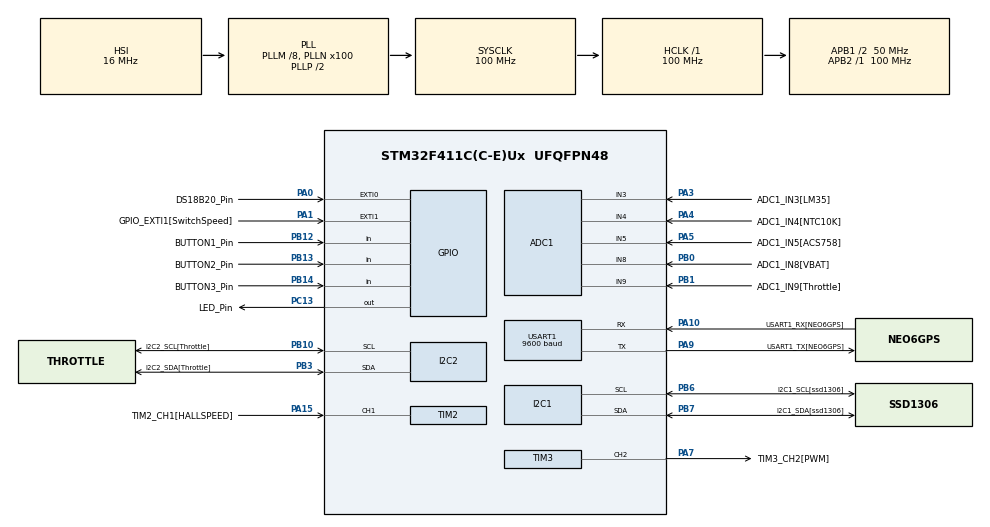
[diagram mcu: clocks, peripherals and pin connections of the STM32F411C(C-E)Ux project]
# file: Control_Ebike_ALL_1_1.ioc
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ADC1.Channel-0\#ChannelRegularConversion=ADC_CHANNEL_3
ADC1.Channel-1\#ChannelRegularConversion=ADC_CHANNEL_5
ADC1.Channel-2\#ChannelRegularConversion=ADC_CHANNEL_8
ADC1.Channel-3\#ChannelRegularConversion=ADC_CHANNEL_9
ADC1.Channel-4\#ChannelRegularConversion=ADC_CHANNEL_4
ADC1.ContinuousConvMode=ENABLE
ADC1.NbrOfConversion=5
ADC1.NbrOfConversionFlag=1
ADC1.Rank-0\#ChannelRegularConversion=1
ADC1.Rank-1\#ChannelRegularConversion=2
ADC1.Rank-2\#ChannelRegularConversion=3
ADC1.Rank-3\#ChannelRegularConversion=4
ADC1.Rank-4\#ChannelRegularConversion=5
ADC1.SamplingTime-0\#ChannelRegularConversion=ADC_SAMPLETIME_84CYCLES
ADC1.SamplingTime-1\#ChannelRegularConversion=ADC_SAMPLETIME_84CYCLES
ADC1.SamplingTime-2\#ChannelRegularConversion=ADC_SAMPLETIME_84CYCLES
ADC1.SamplingTime-3\#ChannelRegularConversion=ADC_SAMPLETIME_84CYCLES
ADC1.SamplingTime-4\#ChannelRegularConversion=ADC_SAMPLETIME_84CYCLES
ADC1.ScanConvMode=ENABLE
ADC1.master=1
I2C1.I2C_Mode=I2C_Fast
Mcu.Family=STM32F4
Mcu.Name=STM32F411C(C-E)Ux
Mcu.Package=UFQFPN48
NVIC.EXTI0_IRQn=true\:0\:0\:false\:false\:true\:true\:true\:true
NVIC.PriorityGroup=NVIC_PRIORITYGROUP_4
NVIC.TIM1_BRK_TIM9_IRQn=true\:0\:0\:false\:false\:true\:true\:true\:true
NVIC.TIM2_IRQn=true\:0\:0\:false\:false\:true\:true\:true\:true
NVIC.TIM4_IRQn=true\:0\:0\:false\:false\:true\:true\:true\:true
NVIC.USART1_IRQn=true\:0\:0\:false\:false\:true\:true\:true\:true
PA0-WKUP.GPIO_Label=DS18B20_Pin
PA0-WKUP.Signal=GPXTI0
PA1.GPIO_Label=GPIO_EXTI1[SwitchSpeed]
PA1.GPIO_ModeDefaultEXTI=GPIO_MODE_IT_FALLING
PA1.Signal=GPXTI1
PA10.GPIO_Label=USART1_RX[NEO6GPS]
PA10.Mode=Asynchronous
PA10.Signal=USART1_RX
PA13.Mode=Serial_Wire
PA13.Signal=SYS_JTMS-SWDIO
PA14.Mode=Serial_Wire
PA14.Signal=SYS_JTCK-SWCLK
PA15.GPIO_Label=TIM2_CH1[HALLSPEED]
PA15.GPIO_PuPd=GPIO_PULLDOWN
PA15.GPIO_Speed=GPIO_SPEED_FREQ_VERY_HIGH
PA15.Signal=S_TIM2_CH1_ETR
PA3.GPIO_Label=ADC1_IN3[LM35]
PA3.Signal=ADCx_IN3
PA4.GPIO_Label=ADC1_IN4[NTC10K]
PA4.Signal=ADCx_IN4
PA5.GPIO_Label=ADC1_IN5[ACS758]
PA5.Signal=ADCx_IN5
PA7.GPIO_Label=TIM3_CH2[PWM]
PA7.Signal=S_TIM3_CH2
PA9.GPIO_Label=USART1_TX[NEO6GPS]
PA9.Mode=Asynchronous
PA9.Signal=USART1_TX
PB0.GPIO_Label=ADC1_IN8[VBAT]
PB0.Signal=ADCx_IN8
PB1.GPIO_Label=ADC1_IN9[Throttle]
PB1.Signal=ADCx_IN9
PB10.GPIO_Label=I2C2_SCL[Throttle]
PB10.Mode=I2C
PB10.Signal=I2C2_SCL
PB12.GPIO_Label=BUTTON1_Pin
PB12.Signal=GPIO_Input
PB13.GPIO_Label=BUTTON2_Pin
PB13.Signal=GPIO_Input
PB14.GPIO_Label=BUTTON3_Pin
PB14.Signal=GPIO_Input
PB3.GPIO_Label=I2C2_SDA[Throttle]
PB3.Mode=I2C
PB3.Signal=I2C2_SDA
PB6.GPIO_Label=I2C1_SCL[ssd1306]
PB6.Mode=I2C
PB6.Signal=I2C1_SCL
PB7.GPIO_Label=I2C1_SDA[ssd1306]
PB7.Mode=I2C
PB7.Signal=I2C1_SDA
PC13-ANTI_TAMP.GPIO_Label=LED_Pin
PC13-ANTI_TAMP.Signal=GPIO_Output
PH0\ -\ OSC_IN.Mode=HSE-External-Oscillator
PH0\ -\ OSC_IN.Signal=RCC_OSC_IN
PH1\ -\ OSC_OUT.Mode=HSE-External-Oscillator
PH1\ -\ OSC_OUT.Signal=RCC_OSC_OUT
ProjectManager.HeapSize=0x200
ProjectManager.StackSize=0x400
ProjectManager.TargetToolchain=STM32CubeIDE
RCC.48MHZClocksFreq_Value=50000000
RCC.AHBFreq_Value=100000000
RCC.APB1CLKDivider=RCC_HCLK_DIV2
RCC.APB1Freq_Value=50000000
RCC.APB1TimFreq_Value=100000000
RCC.APB2Freq_Value=100000000
RCC.APB2TimFreq_Value=100000000
RCC.CortexFreq_Value=100000000
RCC.HCLKFreq_Value=100000000
RCC.HSE_VALUE=25000000
RCC.HSI_VALUE=16000000
RCC.LSE_VALUE=32768
RCC.PLLM=8
RCC.PLLN=100
RCC.SYSCLKFreq_VALUE=100000000
RCC.SYSCLKSource=RCC_SYSCLKSOURCE_PLLCLK
RCC.VCOOutputFreq_Value=200000000
SH.ADCx_IN3.0=ADC1_IN3,IN3
SH.ADCx_IN4.0=ADC1_IN4,IN4
SH.ADCx_IN5.0=ADC1_IN5,IN5
SH.ADCx_IN8.0=ADC1_IN8,IN8
SH.ADCx_IN9.0=ADC1_IN9,IN9
SH.S_TIM2_CH1_ETR.0=TIM2_CH1,Input_Capture1_from_TI1
SH.S_TIM3_CH2.0=TIM3_CH2,PWM Generation2 CH2
TIM1.Prescaler=100-1
TIM2.Channel-Input_Capture1_from_TI1=TIM_CHANNEL_1
TIM2.Channel-Input_Capture2_from_TI1_63=TIM_CHANNEL_2
TIM2.ICPolarity_CH2=TIM_INPUTCHANNELPOLARITY_FALLING
TIM2.Period=69355
TIM3.Channel-PWM\ Generation2\ CH2=TIM_CHANNEL_2
TIM3.Period=100-1
TIM3.Prescaler=10-1
TIM4.Period=1000-1
TIM4.Prescaler=10000-1
USART1.BaudRate=9600
USART1.VirtualMode=VM_ASYNC
VP_TIM1_VS_ClockSourceINT.Mode=Internal
VP_TIM2_VS_ClockSourceINT.Mode=Internal
VP_TIM2_VS_indirect_ch1.Mode=Input_Capture2_from_TI1_63
VP_TIM4_VS_ClockSourceINT.Mode=Internal
board=custom

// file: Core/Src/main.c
/* USER CODE BEGIN Header */
/**
  ******************************************************************************
  * @file           : main.c
  * @brief          : Main program body
  ******************************************************************************
  * @attention
  *
  * Copyright (c) 2024 STMicroelectronics.
  * All rights reserved.
  *
  * This software is licensed under terms that can be found in the LICENSE file
  * in the root directory of this software component.
  * If no LICENSE file comes with this software, it is provided AS-IS.
  *
  ******************************************************************************
  */
/* USER CODE END Header */
#include "main.h"
#include "adc.h"
#include "i2c.h"
#include "tim.h"
#include "usart.h"
#include "gpio.h"

/* USER CODE BEGIN Includes */
#include "acs758.h"
#include "Battery.h"
#include "buttons.h"
#include "ds18B20.h"
#include "ssd1306_conf.h"
#include "ssd1306_tests.h"
#include "ssd1306_fonts.h"
#include "ssd1306.h"
#include "gps_neo6.h"
#include "hall.h"
#include "MCP4725.h"
#include "onewire.h"
#include "pid.h"
#include "ThrottleADC.h"
#include "page.h"
#include "lm35.h"
#include "ntc10k.h"
#include "SwitchSpeed.h"

#include "stdint.h"
#include "stdio.h"
#include <math.h>
#include <string.h>
/* USER CODE END Includes */

/* USER CODE BEGIN PV */

///// NTC10K ////
uint16_t ADC_Raw;
float Ntc_Tmp;

uint8_t Sch_100ms = 255;

///// LM35 /////
float temp;
uint32_t adcval;

//// POWER  /////
float power;

/// ACS758 /////
double current;
float voltage;
uint32_t value;

//// Throttle /////
MCP4725 myDAC;
float averageVoltage;
uint32_t adc_val;

//// V_BAT /////
uint32_t bat_adc_val;
float batteryVoltage;

/// NEO6GPS  /////
NEO6_State GpsState;

/// BUTTON ////
BUTTON_T BUTTON1_Pin;
BUTTON_T BUTTON2_Pin;
BUTTON_T BUTTON3_Pin;

/// DS18B20/////
float temperature;

////HALL_SPEED /////
extern volatile float speed;
extern volatile float rotational_speed;
extern volatile uint32_t pulseCounter;
extern volatile uint32_t lastImpulseTime;
extern volatile uint32_t lastPulseCheckTime;
extern volatile float totalDistance;

//// SSD1306 PAGE ////
uint8_t pageIndex = 0; // This variable will keep track of which page should be displayed.
uint8_t supportLevel = 1; // Start at level 1

//// NEO6GPS /////
NEO6_State GpsState;

/* USER CODE END PV */

void SystemClock_Config(void);
/* USER CODE BEGIN PFP */
void renderPage1(char* buffer);
void renderPage2(char* buffer);
void renderPage3(char* buffer);
void renderPage4(char* buffer);
/* USER CODE END PFP */

int main(void)
{

  /* MCU Configuration--------------------------------------------------------*/

  /* Reset of all peripherals, Initializes the Flash interface and the Systick. */
  HAL_Init();

  /* Configure the system clock */
  SystemClock_Config();

  /* Initialize all configured peripherals */
  MX_GPIO_Init();
  MX_ADC1_Init();
  MX_I2C1_Init();
  MX_I2C2_Init();
  MX_TIM1_Init();
  MX_USART1_UART_Init();
  MX_TIM2_Init();
  MX_TIM3_Init();
  MX_TIM4_Init();
  /* USER CODE BEGIN 2 */

////////////////////////////// DS18B20 //////
  uint8_t sensor_count = 0;  // Variable_number of sensor
  uint8_t ROM_tmp[2];		//  Array_sensor address

  DS18B20_Init(DS18B20_Resolution_12bits);  // Initialization
  sensor_count = DS18B20_Quantity();

///////////////////////////////// NTC10K
  HAL_TIM_Base_Start_IT(&htim4);

///////////////////////////////NEO6GPS
  NEO6_Init(&GpsState, &huart1);

////////////////////////////// ACS758 /////
  ACS7XX Serch;
  ACS7XX_ResetCounters(&Serch);
  ACS7XX_Calibrate(&Serch);
  ACS7XX_Init_Default(&Serch);

////////////////////////////// Throttle  //////
	/* Initialize DAC */
  myDAC = MCP4725_init(&hi2c2, MCP4725A0_ADDR_A00, MCP4725_REFERENCE_VOLTAGE);

	/* Check connection with DAC */
  if (!MCP4725_isConnected(&myDAC))
  {
	  HAL_GPIO_WritePin(LED_Pin_GPIO_Port, LED_Pin_Pin, GPIO_PIN_SET);
  }
  else
  {
	  HAL_GPIO_WritePin(LED_Pin_GPIO_Port, LED_Pin_Pin, GPIO_PIN_RESET);
  }

///////////////////////////// HALLSPEED /////
  HAL_TIM_IC_START();
//  IC_Capture_Callback(&htim2);

///////////////////////////// SSD1306 /////
  ssd1306_Init();

//////////////////////////// NEO6GPS  //////
  NEO6_Init(&GpsState, &huart1);

/////////////////////////////// BUTTON ////
  Button_Init(&BUTTON1_Pin, BUTTON1_Pin_GPIO_Port, BUTTON1_Pin_Pin, 20, 2000, 500);
  Button_Init(&BUTTON2_Pin, BUTTON2_Pin_GPIO_Port, BUTTON2_Pin_Pin, 30, 2000, 500);
  Button_Init(&BUTTON3_Pin, BUTTON3_Pin_GPIO_Port, BUTTON3_Pin_Pin, 40, 2000, 500);

///////////////////////////////// PWM /////

  HAL_TIM_PWM_Start(&htim3, TIM_CHANNEL_2);

/////////////////////////////// DELAY ////
  uint32_t DS18B20_delay = 0;
  uint32_t POWER_delay = 0;
  uint32_t ACS758_delay = 0;
  uint32_t V_BAT_delay = 0;
  uint32_t Throttle_delay = 0;
  uint32_t SSD1306_delay = 0;
  uint32_t NEO6GPS_delay = 0;
  uint32_t BUTTON_delay = 0;
  uint32_t LM35_delay = 0;
  uint32_t NEO6_delay = 0;
  uint32_t NTC10K_delay = 0;
  /* USER CODE END 2 */

  /* Infinite loop */
  /* USER CODE BEGIN WHILE */
  while (1)
  {

//////////////////////////////////////  DS18B20 //////
	if((HAL_GetTick() - DS18B20_delay) > 100)
	{
	  if(sensor_count > 0)
	  {
	  	DS18B20_GetROM(0, ROM_tmp);
	  	DS18B20_AllDone();
	  	DS18B20_ReadAll();
	  	DS18B20_StartAll();
	  	DS18B20_GetTemperature(0, &temperature);

	  }
	 DS18B20_delay = HAL_GetTick();
	}

////////////////////////////////// PWM THROTTLE////////////
	Throttle_Control_PWM( &hadc1, &htim3, TIM_CHANNEL_2);

//////////////////////////////////////NTC10K /////////
	if((HAL_GetTick() - NTC10K_delay) > 150)
	{
	  if(Sch_100ms)
	    {
		  NTC10K_ADC_Read(&ADC_Raw);
		  NTC10K_Get_Temp(&Ntc_Tmp);

	    }
	  NTC10K_delay = HAL_GetTick();
	}

//////////////////////////////////////HALLSPEED /////
// Check if TIMEOUT has passed since last pulse check
	if (HAL_GetTick() - lastPulseCheckTime >= TIMEOUT)
	{
		// If the last pulse was more than TIMEOUT milliseconds ago
		if (HAL_GetTick() - lastImpulseTime >= TIMEOUT)
		{
		  // reset speed, rotational_speed and pulseCounter
			pulseCounter = 0;
			speed = 0;
			rotational_speed = 0;
		}

		// Update the last pulse check time
		lastPulseCheckTime = HAL_GetTick();
	}
////////////////////////////////////////// LM35 ///////
	if((HAL_GetTick() - LM35_delay) > 200)
	{
		LM35_Get_Value(&hadc1, &adcval);
		LM35_Get_Temperature(&hadc1, &temp);

		LM35_delay = HAL_GetTick();
	}

//////////////////////////////////////////// POWER //////
	if((HAL_GetTick() - POWER_delay) > 100)
	{
		Power_Calculate(&Serch, &hadc1, &power);

		POWER_delay = HAL_GetTick();
	}

//////////////////////////////////////////// ACS758 /////
	if((HAL_GetTick() - ACS758_delay) > 100)
	{
	   ACS7XX_InstantCurrent(&Serch, &current, &voltage, &value);

	   ACS758_delay = HAL_GetTick();
	}

///////////////////////////////////////////// V_BAT ///////
	if((HAL_GetTick() - V_BAT_delay) > 100)
	{
	   HAL_ADC_Start(&hadc1);
	   HAL_ADC_PollForConversion(&hadc1, HAL_MAX_DELAY);
	   Battery_Get_ADC_Value(&hadc1, &bat_adc_val);
	   Battery_Get_Voltage(&hadc1 , &batteryVoltage);
	   HAL_ADC_Stop(&hadc1);

	   V_BAT_delay = HAL_GetTick();
	}

//////////////////////////////////////////// Throttle /////
	if((HAL_GetTick() - Throttle_delay) > 100)
	{
	   Throttle_Get_Average_Voltage(&hadc1, &averageVoltage);
	   Throttle_Get_ADC_Value(&hadc1, &adc_val);
	   if(!MCP4725_setVoltage(&myDAC, averageVoltage , MCP4725_FAST_MODE, MCP4725_POWER_DOWN_OFF))
	   {
	      /* Handle error */
	   }
	 Throttle_delay = HAL_GetTick();
	}

//////////////////////////////////////////NEO6GPS
	if((HAL_GetTick() - NEO6_delay) > 100)
	{
	  NEO6_Task(&GpsState);

  	  NEO6_delay = HAL_GetTick();
	}
////////////////////////////////////////////// SSD1306  ////

	if((HAL_GetTick() - SSD1306_delay) > 100)
	{
		char displayBuffer[50];
		ssd1306_Fill(Black);

		// Depending on the page to be displayed we render different information.
		switch (pageIndex)
		{
			case 0: // Page 1
		      renderPage1(displayBuffer);
		      break;

			case 1: // Page 2
		      renderPage2(displayBuffer);
		      break;

			case 2: // Page 3
		      renderPage3(displayBuffer);
		      break;

			case 3: // Page 4
		      renderPage4(displayBuffer);
		      break;

			default:
				// If an unrecognized page index is detected, reset to page 1.
				pageIndex = 0;
			}
		ssd1306_UpdateScreen();

		SSD1306_delay = HAL_GetTick();
	}

///////////////////////////////////////////////NEO6GPS ////
	if((HAL_GetTick() - NEO6GPS_delay) > 1000)
	{
		NEO6_Task(&GpsState);
		NEO6_IsFix(&GpsState);

		NEO6GPS_delay = HAL_GetTick();
	}

////////////////////////////////////////////// BUTTON ////
	if((HAL_GetTick() - BUTTON_delay) > 100)
	{

		/////// If button 3 is pressed, we move to the next page.
		if (Button_IsPressed(&BUTTON1_Pin))
		{
			// If we were in the last page, reset to page 1.
		    if (pageIndex >= 3)
		    {
		    	pageIndex = 0;
		    }
		    // Otherwise, simply go to the next page.
		    else
		    {
		    	pageIndex++;
		    }
		}

		/////// If button 2 is pressed, increment the support level.
		if (Button_IsPressed(&BUTTON2_Pin))
		{
			if (supportLevel <= 4)
		    {
		        supportLevel++;
		    }
		}

		/////// If button 3 is pressed, decrement the support level.
		if (Button_IsPressed(&BUTTON3_Pin))
		{
			if (supportLevel >= 1)
		    {
				supportLevel--;
		    }
		}
		   BUTTON_delay = HAL_GetTick();
	}

    /* USER CODE END WHILE */

  }
}

void SystemClock_Config(void)
{
  RCC_OscInitTypeDef RCC_OscInitStruct = {0};
  RCC_ClkInitTypeDef RCC_ClkInitStruct = {0};

  /** Configure the main internal regulator output voltage
  */
  __HAL_RCC_PWR_CLK_ENABLE();
  __HAL_PWR_VOLTAGESCALING_CONFIG(PWR_REGULATOR_VOLTAGE_SCALE1);

  /** Initializes the RCC Oscillators according to the specified parameters
  * in the RCC_OscInitTypeDef structure.
  */
  RCC_OscInitStruct.OscillatorType = RCC_OSCILLATORTYPE_HSI;
  RCC_OscInitStruct.HSIState = RCC_HSI_ON;
  RCC_OscInitStruct.HSICalibrationValue = RCC_HSICALIBRATION_DEFAULT;
  RCC_OscInitStruct.PLL.PLLState = RCC_PLL_ON;
  RCC_OscInitStruct.PLL.PLLSource = RCC_PLLSOURCE_HSI;
  RCC_OscInitStruct.PLL.PLLM = 8;
  RCC_OscInitStruct.PLL.PLLN = 100;
  RCC_OscInitStruct.PLL.PLLP = RCC_PLLP_DIV2;
  RCC_OscInitStruct.PLL.PLLQ = 4;
  if (HAL_RCC_OscConfig(&RCC_OscInitStruct) != HAL_OK)
  {
    Error_Handler();
  }

  /** Initializes the CPU, AHB and APB buses clocks
  */
  RCC_ClkInitStruct.ClockType = RCC_CLOCKTYPE_HCLK|RCC_CLOCKTYPE_SYSCLK
                              |RCC_CLOCKTYPE_PCLK1|RCC_CLOCKTYPE_PCLK2;
  RCC_ClkInitStruct.SYSCLKSource = RCC_SYSCLKSOURCE_PLLCLK;
  RCC_ClkInitStruct.AHBCLKDivider = RCC_SYSCLK_DIV1;
  RCC_ClkInitStruct.APB1CLKDivider = RCC_HCLK_DIV2;
  RCC_ClkInitStruct.APB2CLKDivider = RCC_HCLK_DIV1;

  if (HAL_RCC_ClockConfig(&RCC_ClkInitStruct, FLASH_LATENCY_3) != HAL_OK)
  {
    Error_Handler();
  }
}

/* USER CODE BEGIN 4 */

/////////////////////////////////////// SSD1306PAGE ///////
void renderPage1(char* buffer)
{
	char displayBuffer[50];

	// Display Speed
	ssd1306_SetCursor(45, 30);
	sprintf(displayBuffer, "%.2f km/h", speed);
	ssd1306_WriteString(displayBuffer, Font_7x10, White);
    // Display battery voltage
    ssd1306_SetCursor(10, 2);
    sprintf(displayBuffer, ": %.1f V", batteryVoltage);
    ssd1306_WriteString(displayBuffer, Font_6x8, White);

    // Display POWER
    ssd1306_SetCursor(84, 2);
    sprintf(displayBuffer, "%.1f W", power);
    ssd1306_WriteString(displayBuffer, Font_6x8, White);

    // Display temperature DS18B20
    ssd1306_SetCursor(80, 55);
    sprintf(displayBuffer, "%.1f C", temperature);
    ssd1306_WriteString(displayBuffer, Font_6x8, White);

    // Display distance
    ssd1306_SetCursor(2, 55);
    sprintf(displayBuffer, "%.3f km", totalDistance);
    ssd1306_WriteString(displayBuffer, Font_6x8, White);

    //Display support level
    ssd1306_SetCursor(5, 25);
    snprintf(displayBuffer, sizeof(displayBuffer), "%u", supportLevel);
    ssd1306_WriteString(displayBuffer, Font_11x18, White);

    // Calculate the height of the temperature bar
    int tempPercent = temperature; // This assumes temperature is between 0-100. If not, make sure to scale it.
     // Check if temperature is in range.
     if(tempPercent < 0)
     {
       tempPercent = 0;
     }
     else if(tempPercent > 100)
     {
       tempPercent = 100;
     }
     // Calculate height for temperature.
     int tempHeight = (int) (52*tempPercent/100); // Assuming the height of OLED is 64 pixels. Adjust this value according to your OLED resolution.
     // Draw temperature bar.
     for(int y=63; y>=0; y--)
     {
       for(int x=124; x<128; x++)
       { // Assuming the width of OLED is 128 pixels.
         if(y >= (64-tempHeight))
         {
           ssd1306_DrawPixel(x, y, White); // Draw the bar as white.
         }
         else
         {
           ssd1306_DrawPixel(x, y, Black); // Other area remains black.
         }
       }
     }

 	// Calculate battery level percentage.
 	float batPercent = (((float)batteryVoltage - 20) / 10) * 100 ;    // Assuming batteryVoltage ranges from 10V to 30V.
 	// Check if battery level is in range.
 	if(batPercent < 0)
 	{
 		batPercent = 0;
 	}
 	else if(batPercent > 100)
 	{
 	    batPercent = 100;
 	}

     uint8_t batteryWidth = 15;
     uint8_t batteryHeight = 7;
     uint8_t topLeftX = 2; // top right corner (leave 2 pixel space from the edge)
     uint8_t topLeftY = 2; // top right corner (leave 2 pixel space from the edge)
     // draw battery body
     ssd1306_DrawRectangle(topLeftX, topLeftY, topLeftX + batteryWidth, topLeftY + batteryHeight, White);
     // draw battery terminal
     ssd1306_Line(topLeftX + batteryWidth + 1, topLeftY + 1, topLeftX + batteryWidth + 1, topLeftY + batteryHeight - 1, White);
     // you can adjust the width of the filled rectangle reflects battery level
     // pseudocode: int batteryLevelWidth = batteryWidth * (currentBatteryLevel / maxBatteryLevel);
     int batteryLevelWidth =  (batPercent * batteryWidth) / 100; // let's say it's 70% now
     ssd1306_FillRectangle(topLeftX + 1, topLeftY + 1, topLeftX + 1 + batteryLevelWidth, topLeftY + batteryHeight - 1, White);
}

void renderPage2(char* buffer)
{
	char displayBuffer[50];
  // Display battery voltage
	ssd1306_SetCursor(2, 0);
	sprintf(displayBuffer, "V_Battery: %.2f V", batteryVoltage);
	ssd1306_WriteString(displayBuffer, Font_6x8, White);

  // Display current
	ssd1306_SetCursor(2, 8);
	sprintf(displayBuffer, "Current: %.2f A", current);
	ssd1306_WriteString(displayBuffer, Font_6x8, White);

  // Display Speed
	ssd1306_SetCursor(2, 16);
	sprintf(displayBuffer, "Speed: %.2f km/h", speed);
	ssd1306_WriteString(displayBuffer, Font_6x8, White);

  // Display distance
	ssd1306_SetCursor(2, 24);
	sprintf(displayBuffer, "Distance: %.2f km", totalDistance);
	ssd1306_WriteString(displayBuffer, Font_6x8, White);

  // Display POWER
	ssd1306_SetCursor(2, 32);
	sprintf(displayBuffer, "Power: %.2f W", power);
	ssd1306_WriteString(displayBuffer, Font_6x8, White);

  // Display LM35
	ssd1306_SetCursor(2, 40);
	sprintf(displayBuffer, "TempLM35: %.2f *C", temp);
	ssd1306_WriteString(displayBuffer, Font_6x8, White);

  // Display NTC10K
	ssd1306_SetCursor(2, 48);
	sprintf(displayBuffer, "TempNTC10K: %.2f *C", Ntc_Tmp);
	ssd1306_WriteString(displayBuffer, Font_6x8, White);

  // Display temperature
	ssd1306_SetCursor(2, 56);
	sprintf(displayBuffer, "TempDS18B20: %.2f *C", temperature);
	ssd1306_WriteString(displayBuffer, Font_6x8, White);
}

void renderPage3(char* buffer){
	char displayBuffer[50];

    ssd1306_SetCursor(10, 0);
    sprintf(displayBuffer, "GPS INFORMATION");
    ssd1306_WriteString(displayBuffer, Font_6x8, White);

    // Display GPS satelites number
    ssd1306_SetCursor(2, 9);
    sprintf(displayBuffer, "SatelitesNumber: %d", GpsState.SatelitesNumber);
    ssd1306_WriteString(displayBuffer, Font_6x8, White);

    // Display GPS Date
    ssd1306_SetCursor(2, 18);
    sprintf(displayBuffer, "Date: %d.%d.%d", GpsState.Day, GpsState.Month, GpsState.Year);
    ssd1306_WriteString(displayBuffer, Font_6x8, White);

    // Display GPS Time
    ssd1306_SetCursor(2, 27);
    sprintf(displayBuffer, "Time: %d:%d:%d", GpsState.Hour, GpsState.Minute, GpsState.Second);
    ssd1306_WriteString(displayBuffer, Font_6x8, White);

    // Display GPS Speed
    ssd1306_SetCursor(2, 36);
    sprintf(displayBuffer, "Speed: %.2f km/h", GpsState.SpeedKilometers);
    ssd1306_WriteString(displayBuffer, Font_6x8, White);

    // Display GPS Latitude and Longitude
    ssd1306_SetCursor(2, 45);
    sprintf(displayBuffer, "Lat: %f", GpsState.Latitude);
    ssd1306_WriteString(displayBuffer, Font_6x8, White);

    ssd1306_SetCursor(2, 54);
    sprintf(displayBuffer, "Long: %f",GpsState.Longitude);
    ssd1306_WriteString(displayBuffer, Font_6x8, White);
//
//    // Display GPS Latitude and Longitude
//    ssd1306_SetCursor(2, 45);
//    sprintf(displayBuffer, "Lat: **.******");
//    ssd1306_WriteString(displayBuffer, Font_6x8, White);
//
//    ssd1306_SetCursor(2, 54);
//    sprintf(displayBuffer, "Long: **.****** ");
//    ssd1306_WriteString(displayBuffer, Font_6x8, White);
}

void renderPage4(char* buffer){
	char displayBuffer[50];

    ssd1306_SetCursor(35, 2);
    sprintf(displayBuffer, "SETTINGS");
    ssd1306_WriteString(displayBuffer, Font_7x10, White);

    ssd1306_SetCursor(0, 15);
    sprintf(displayBuffer, "-Temperature_SENS ");
    ssd1306_WriteString(displayBuffer, Font_6x8, White);

    ssd1306_SetCursor(0, 30);
    sprintf(displayBuffer, "-Current_SENS_CALIB");
    ssd1306_WriteString(displayBuffer, Font_6x8, White);
}

/////////////////////////////////////////////// NEO6GPS  //////
void HAL_UART_RxCpltCallback(UART_HandleTypeDef *huart)
{
	if(huart == GpsState.neo6_huart)
	{
		NEO6_ReceiveUartChar(&GpsState);
	}
}

/* USER CODE END 4 */

void Error_Handler(void)
{
  __disable_irq();
  while (1)
  {
  }
}
